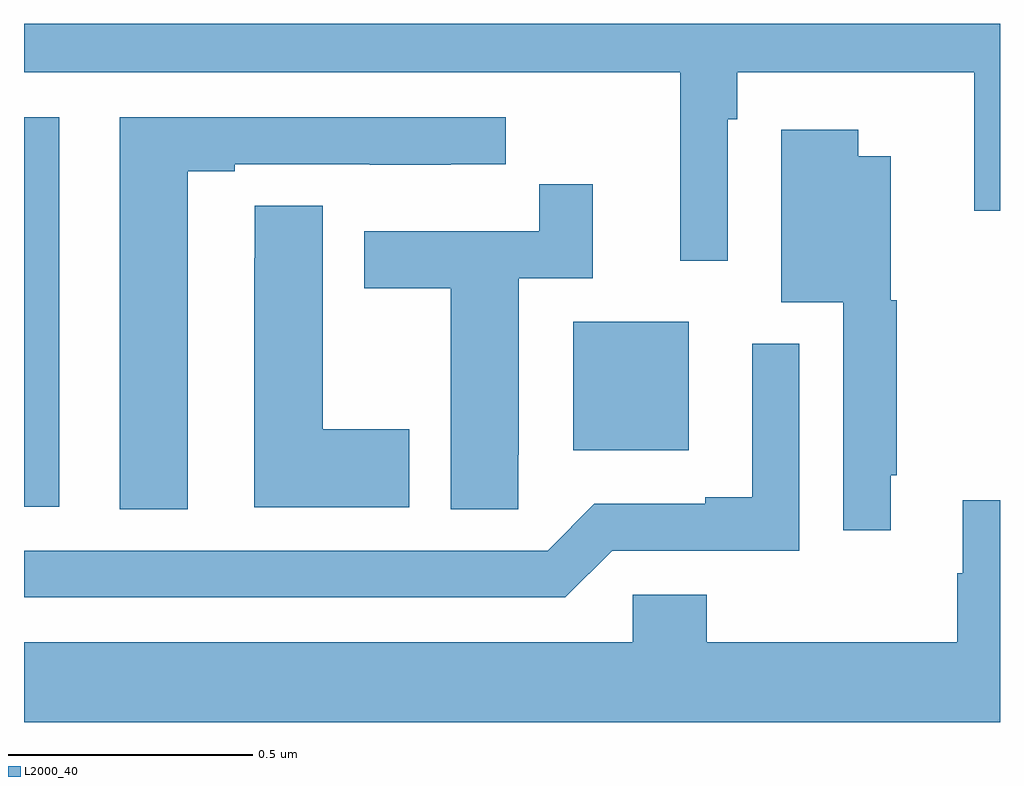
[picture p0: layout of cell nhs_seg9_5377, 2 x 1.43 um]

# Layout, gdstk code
import gdstk
lib = gdstk.Library(unit=1e-6, precision=1e-09)
def R(c, l, rs):  # rectangles x0, y0, x1, y1
    for r in rs: c.add(gdstk.rectangle(r[:2], r[2:], *l))
def P(c, l, *ps):  # polygons
    for p in ps: c.add(gdstk.Polygon(p, *l))
L2000_40 = (2000, 40)

nhs_seg9_5377 = lib.new_cell('nhs_seg9_5377')
R(nhs_seg9_5377, L2000_40, [(178,1215.51,178.072,1216.308), (179.126,1215.626,179.362,1215.889)])
P(nhs_seg9_5377, L2000_40, [(179.442,1216.304),(179.462,1216.304),(179.462,1216.4),(179.947,1216.4),(179.947,1216.116),(180,1216.116),(180,1216.5),(178,1216.5),(178,1216.4),(179.345,1216.4),(179.345,1216.014),(179.442,1216.014)],
  [(178.336,1216.197),(178.432,1216.197),(178.432,1216.212),(178.708,1216.212),(178.708,1216.211),(178.874,1216.211),(178.874,1216.212),(178.987,1216.212),(178.987,1216.308),(178.196,1216.308),(178.196,1215.505),(178.336,1215.505)],
  [(179.776,1215.574),(179.788,1215.574),(179.788,1215.933),(179.776,1215.933),(179.776,1216.228),(179.71,1216.228),(179.71,1216.282),(179.552,1216.282),(179.552,1215.929),(179.679,1215.929),(179.679,1215.462),(179.776,1215.462)],
  [(179.013,1215.616),(179.014,1215.616),(179.014,1215.978),(179.165,1215.978),(179.165,1216.171),(179.056,1216.171),(179.056,1216.074),(178.697,1216.074),(178.697,1215.958),(178.874,1215.958),(178.874,1215.505),(179.013,1215.505)],
  [(178.789,1215.669),(178.612,1215.669),(178.612,1216.127),(178.473,1216.127),(178.473,1216.019),(178.472,1216.019),(178.472,1215.509),(178.789,1215.509)],
  [(179.205,1215.42),(179.589,1215.42),(179.589,1215.844),(179.492,1215.844),(179.492,1215.529),(179.396,1215.529),(179.396,1215.516),(179.169,1215.516),(179.073,1215.42),(178,1215.42),(178,1215.324),(179.109,1215.324)],
  [(180,1215.523),(179.924,1215.523),(179.924,1215.374),(179.912,1215.374),(179.912,1215.232),(179.399,1215.232),(179.399,1215.33),(179.247,1215.33),(179.247,1215.232),(178,1215.232),(178,1215.068),(180,1215.068)])

lib.write_gds('nhs_seg9_5377.gds')
